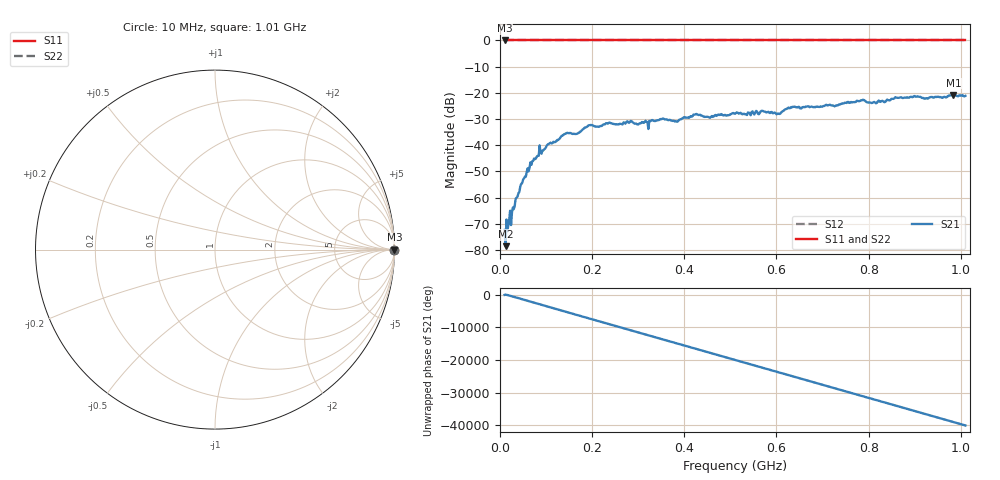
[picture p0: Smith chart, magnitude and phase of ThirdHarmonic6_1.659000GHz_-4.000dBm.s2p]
! 8/16/2025 7:52:19 PM
! C:\ANRITSUVNA\TEMP\TEMP.S2P
! CHANNEL.1
! TR.MEASUREMENT
! RAW.DATA
! RF.CORRECTION.OFF
! AVERAGING.OFF
! IF.BANDWIDTH: 5KHZ
! SWEEPTYPE:  FREQ.SWEEP(Linear)
! Reference Plane Port Info
! PORT:  PORT1  PORT2
! DISTANCE:  0  m  0  m
! TIME:  0  s  0  s
! PHASE.OFFSET:  0  deg.  0  deg.
! LOSS:  0  dB  0  dB
! REF.LOSS:  0  dB  0  dB
! REF.FREQ:  0  Hz  0  Hz
! Power Info
! POWER:  -20  dBm  -20  dBm
! EFF.POWER:  -20  dBm  -20  dBm
! SOURCE.ATTEN:  0  dB  0  dB
! TEST.ATTEN:  0  dB  0  dB
# GHZ S RI R 50.0
! FREQ.GHZ  S11RE  S11IM  S21RE  S21IM  S12RE  S12IM  S22RE  S22IM
!; PortSelection: Port_12
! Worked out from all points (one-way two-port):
!   501 points, 10 MHz to 1.01 GHz, reference 50 ohm
!   highest |S21| = -20.81 dB at 984 MHz (marker M1); lowest = -78.5 dB at 12 MHz (marker M2)
!   lowest |S11| = 0.0 dB at 10 MHz (marker M3)
!   |S11| at or under -10 dB: nowhere
!   |S22| runs from 0.0 to 0.0 dB; largest |S21 - S12| = 1.1
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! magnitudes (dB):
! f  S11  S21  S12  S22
! 10 MHz  0.0  -72.3  0.0  0.0
! 12 MHz  0.0  -78.5  0.0  0.0
! 16 MHz  0.0  -72.8  0.0  0.0
! 48 MHz  0.0  -54.5  0.0  0.0
! 70 MHz  0.0  -46.1  0.0  0.0
! 106 MHz  0.0  -39.5  0.0  0.0
! 142 MHz  0.0  -35.6  0.0  0.0
! 178 MHz  0.0  -34.2  0.0  0.0
! 196 MHz  0.0  -32.3  0.0  0.0
! 300 MHz  0.0  -32.1  0.0  0.0
! 344 MHz  0.0  -30.5  0.0  0.0
! 382 MHz  0.0  -30.8  0.0  0.0
! 424 MHz  0.0  -28.3  0.0  0.0
! 454 MHz  0.0  -29.4  0.0  0.0
! 510 MHz  0.0  -28.0  0.0  0.0
! 570 MHz  0.0  -26.9  0.0  0.0
! 604 MHz  0.0  -27.9  0.0  0.0
! 636 MHz  0.0  -25.3  0.0  0.0
! 678 MHz  0.0  -25.4  0.0  0.0
! 844 MHz  0.0  -22.9  0.0  0.0
! 984 MHz  0.0  -20.8  0.0  0.0
! 1.01 GHz  0.0  -21.2  0.0  0.0
